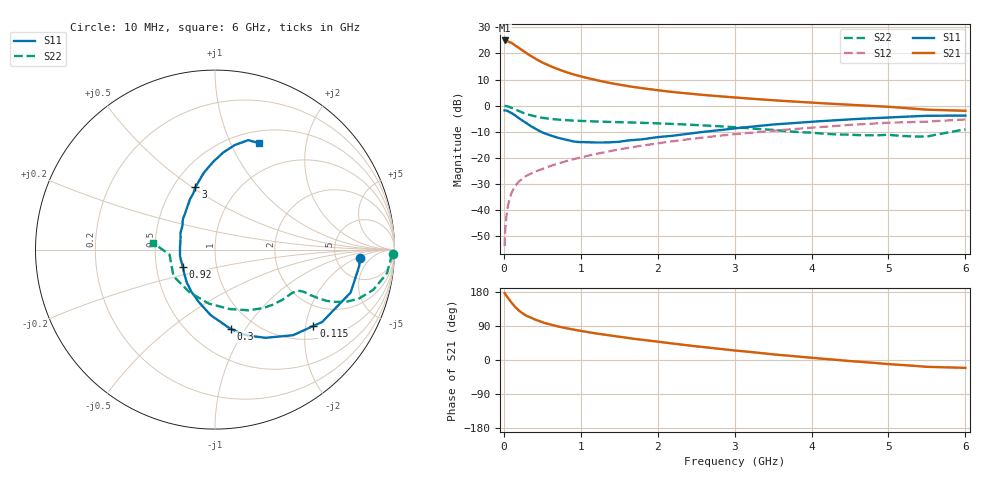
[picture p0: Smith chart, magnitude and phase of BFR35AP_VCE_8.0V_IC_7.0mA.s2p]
! Infineon Technologies  Discrete & RF Semiconductors
! BFR35AP
! VCE =  8.0 V,  IC =  7.0 mA
! Common Emitter S-Parameters:  Nov 2015
# GHz  S  MA  R  50
!  f  S11  S21  S12  S22
! GHz  MAG  ANG  MAG  ANG  MAG  ANG  MAG  ANG
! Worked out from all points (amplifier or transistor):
!   210 points, 10 MHz to 6 GHz, reference 50 ohm
!   highest |S21| = 25.0 dB at 10 MHz (marker M1)
!   |S21| within 3 dB of that: start of sweep to 204.9 MHz
!   unconditionally stable (mu >= 1): 743.4 MHz to 2.935 GHz
!   at 185 MHz: K = 0.45, MSG = 26.0 dB, |S12| = -29.5 dB
!   at 1.52 GHz: K = 1.10, MAG = 10.4 dB, |S12| = -16.7 dB
!   at 6 GHz: K = 0.90, MSG = 1.7 dB, |S12| = -5.3 dB
!   S11 on the Smith chart (normalised r, x): 10 MHz: 8.78, -2.52; 115 MHz: 1.35, -2.21; 300 MHz: 0.77, -0.86; 920 MHz: 0.69, -0.14; 3 GHz: 0.64, +0.51; 6 GHz: 0.64, +1.28
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0.01  0.8098 -3.5  17.79 176.6  0.002 92.8  0.9913 -1.5
0.025  0.8035 -8.6  17.36 172.0  0.0055 83.0  0.9782 -3.9
0.05  0.7925 -17.6  17.16 164.8  0.0113 79.8  0.9672 -7.8
0.1  0.7206 -34.0  16.03 151.2  0.0211 74.4  0.9096 -14.3
0.115  0.6942 -37.8  15.41 147.9  0.0235 72.1  0.8896 -15.6
0.15  0.6458 -47.6  14.21 139.1  0.0291 68.1  0.8448 -19.0
0.2  0.5669 -60.1  12.75 129.7  0.0353 64.5  0.782 -21.9
0.26  0.4942 -72.1  11 120.9  0.0415 61.9  0.7164 -23.9
0.3  0.45 -78.9  9.954 116.1  0.0453 61.8  0.6817 -24.7
0.4  0.3664 -93.7  8.072 107.1  0.0533 60.5  0.6227 -25.3
0.5  0.3058 -107.1  6.701 99.3  0.0607 60.8  0.5814 -25.5
0.6  0.2697 -119.1  5.745 93.6  0.0691 61.5  0.5558 -25.4
0.7  0.2424 -130.3  5.011 88.7  0.0767 62.1  0.5387 -25.6
0.92  0.2031 -151.8  3.908 79.6  0.0947 62.5  0.5142 -26.6
1.02  0.1985 -162.6  3.571 76.1  0.1028 62.8  0.5066 -27.4
1.4  0.1979 167.1  2.677 64.1  0.1353 62.2  0.4853 -31.4
2.02  0.2495 135.1  1.956 47.6  0.1904 58.8  0.4544 -40.5
3  0.3644 107.4  1.431 25.1  0.2823 50.2  0.3859 -61.2
3.1  0.3772 105.3  1.395 23.3  0.2914 49.0  0.375 -63.9
4.1  0.5 89.8  1.118 4.1  0.3862 37.6  0.2932 -101.3
5.1  0.601 78.0  0.924 -12.1  0.4724 23.8  0.2664 -152.3
6  0.642 67.7  0.794 -20.8  0.5418 13.2  0.3495 173.7
